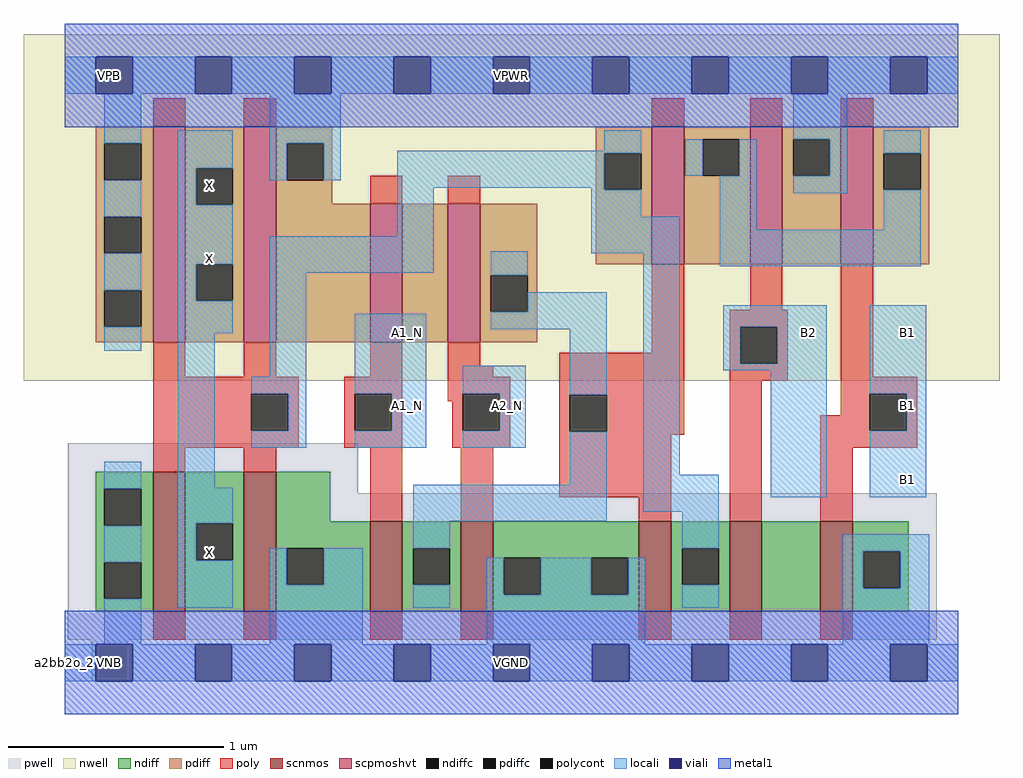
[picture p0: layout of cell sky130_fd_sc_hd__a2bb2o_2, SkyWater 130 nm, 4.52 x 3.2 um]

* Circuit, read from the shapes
.subckt sky130_fd_sc_hd__a2bb2o_2 A1_N A2_N B1 B2 VGND VNB VPB VPWR X
XM1 X n1 VGND VNB sky130_fd_pr__nfet_01v8 w=0.65 l=0.15 m=2
XM2 n2 A1_N VGND VNB sky130_fd_pr__nfet_01v8 w=0.42 l=0.15
XM3 VGND A2_N n2 VNB sky130_fd_pr__nfet_01v8 w=0.42 l=0.15
XM4 n1 n2 VGND VNB sky130_fd_pr__nfet_01v8 w=0.42 l=0.15
XM5 n3 B2 n1 VNB sky130_fd_pr__nfet_01v8 w=0.42 l=0.15
XM6 VGND B1 n3 VNB sky130_fd_pr__nfet_01v8 w=0.42 l=0.15
XM7 X n1 VPWR VPB sky130_fd_pr__pfet_01v8_hvt w=1 l=0.15 m=2
XM8 n4 A1_N VPWR VPB sky130_fd_pr__pfet_01v8_hvt w=0.64 l=0.15
XM9 n2 A2_N n4 VPB sky130_fd_pr__pfet_01v8_hvt w=0.64 l=0.15
XM10 n5 n2 n1 VPB sky130_fd_pr__pfet_01v8_hvt w=0.64 l=0.15
XM11 VPWR B2 n5 VPB sky130_fd_pr__pfet_01v8_hvt w=0.64 l=0.15
XM12 n5 B1 VPWR VPB sky130_fd_pr__pfet_01v8_hvt w=0.64 l=0.15
.ends

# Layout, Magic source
magic
tech sky130A
magscale 1 2
<< nwell >>
rect -38 261 866 582
<< pwell >>
rect 3 157 272 203
rect 3 21 808 157
rect 25 -17 59 21
<< scnmos >>
rect 82 47 112 177
rect 166 47 196 177
rect 283 47 313 131
rect 367 47 397 131
rect 532 47 562 131
rect 616 47 646 131
rect 700 47 730 131
<< scpmoshvt >>
rect 82 297 112 497
rect 166 297 196 497
rect 283 297 313 425
rect 355 297 385 425
rect 544 369 574 497
rect 635 369 665 497
rect 719 369 749 497
<< ndiff >>
rect 29 161 82 177
rect 29 127 37 161
rect 71 127 82 161
rect 29 93 82 127
rect 29 59 37 93
rect 71 59 82 93
rect 29 47 82 59
rect 112 129 166 177
rect 112 95 122 129
rect 156 95 166 129
rect 112 47 166 95
rect 196 131 246 177
rect 196 106 283 131
rect 196 72 206 106
rect 240 72 283 106
rect 196 47 283 72
rect 313 106 367 131
rect 313 72 323 106
rect 357 72 367 106
rect 313 47 367 72
rect 397 97 532 131
rect 397 63 407 97
rect 441 63 488 97
rect 522 63 532 97
rect 397 47 532 63
rect 562 106 616 131
rect 562 72 572 106
rect 606 72 616 106
rect 562 47 616 72
rect 646 47 700 131
rect 730 103 782 131
rect 730 69 740 103
rect 774 69 782 103
rect 730 47 782 69
<< pdiff >>
rect 29 481 82 497
rect 29 447 37 481
rect 71 447 82 481
rect 29 413 82 447
rect 29 379 37 413
rect 71 379 82 413
rect 29 345 82 379
rect 29 311 37 345
rect 71 311 82 345
rect 29 297 82 311
rect 112 458 166 497
rect 112 424 122 458
rect 156 424 166 458
rect 112 369 166 424
rect 112 335 122 369
rect 156 335 166 369
rect 112 297 166 335
rect 196 481 248 497
rect 196 447 206 481
rect 240 447 248 481
rect 492 472 544 497
rect 196 425 248 447
rect 492 438 500 472
rect 534 438 544 472
rect 196 297 283 425
rect 313 297 355 425
rect 385 359 438 425
rect 492 369 544 438
rect 574 485 635 497
rect 574 451 591 485
rect 625 451 635 485
rect 574 369 635 451
rect 665 485 719 497
rect 665 451 675 485
rect 709 451 719 485
rect 665 369 719 451
rect 749 472 801 497
rect 749 438 759 472
rect 793 438 801 472
rect 749 369 801 438
rect 385 325 395 359
rect 429 325 438 359
rect 385 297 438 325
<< ndiffc >>
rect 37 127 71 161
rect 37 59 71 93
rect 122 95 156 129
rect 206 72 240 106
rect 323 72 357 106
rect 407 63 441 97
rect 488 63 522 97
rect 572 72 606 106
rect 740 69 774 103
<< pdiffc >>
rect 37 447 71 481
rect 37 379 71 413
rect 37 311 71 345
rect 122 424 156 458
rect 122 335 156 369
rect 206 447 240 481
rect 500 438 534 472
rect 591 451 625 485
rect 675 451 709 485
rect 759 438 793 472
rect 395 325 429 359
<< poly >>
rect 82 497 112 523
rect 166 497 196 523
rect 544 497 574 523
rect 635 497 665 523
rect 719 497 749 523
rect 283 425 313 451
rect 355 425 385 451
rect 82 265 112 297
rect 166 265 196 297
rect 283 265 313 297
rect 82 249 217 265
rect 82 215 173 249
rect 207 215 217 249
rect 82 199 217 215
rect 259 249 313 265
rect 259 215 269 249
rect 303 215 313 249
rect 355 275 385 297
rect 544 287 574 369
rect 635 327 665 369
rect 355 265 397 275
rect 355 249 413 265
rect 355 242 369 249
rect 259 199 313 215
rect 359 215 369 242
rect 403 215 413 249
rect 359 199 413 215
rect 458 248 574 287
rect 458 214 468 248
rect 502 214 574 248
rect 458 211 574 214
rect 616 311 670 327
rect 616 277 626 311
rect 660 277 670 311
rect 616 261 670 277
rect 719 265 749 369
rect 82 177 112 199
rect 166 177 196 199
rect 283 131 313 199
rect 367 131 397 199
rect 458 153 562 211
rect 532 131 562 153
rect 616 131 646 261
rect 719 249 790 265
rect 719 229 746 249
rect 700 215 746 229
rect 780 215 790 249
rect 700 199 790 215
rect 700 131 730 199
rect 82 21 112 47
rect 166 21 196 47
rect 283 21 313 47
rect 367 21 397 47
rect 532 21 562 47
rect 616 21 646 47
rect 700 21 730 47
<< polycont >>
rect 173 215 207 249
rect 269 215 303 249
rect 369 215 403 249
rect 468 214 502 248
rect 626 277 660 311
rect 746 215 780 249
<< locali >>
rect 0 527 29 561
rect 63 527 121 561
rect 155 527 213 561
rect 247 527 305 561
rect 339 527 397 561
rect 431 527 489 561
rect 523 527 581 561
rect 615 527 673 561
rect 707 527 765 561
rect 799 527 828 561
rect 37 481 71 527
rect 37 413 71 447
rect 37 345 71 379
rect 37 289 71 311
rect 105 458 156 493
rect 105 424 122 458
rect 190 481 256 527
rect 190 447 206 481
rect 240 447 256 481
rect 500 474 534 493
rect 675 485 725 527
rect 308 472 534 474
rect 105 369 156 424
rect 308 440 500 472
rect 308 395 342 440
rect 105 335 122 369
rect 105 305 156 335
rect 190 361 342 395
rect 488 438 500 440
rect 575 451 591 485
rect 625 451 641 485
rect 488 413 534 438
rect 37 161 71 186
rect 37 93 71 127
rect 37 17 71 59
rect 105 162 139 305
rect 190 265 224 361
rect 395 359 429 381
rect 488 379 570 413
rect 429 325 502 343
rect 173 249 224 265
rect 207 215 224 249
rect 173 199 224 215
rect 269 249 335 323
rect 395 309 502 325
rect 303 215 335 249
rect 269 199 335 215
rect 369 249 427 275
rect 403 215 427 249
rect 369 199 427 215
rect 468 248 502 309
rect 468 165 502 214
rect 105 129 156 162
rect 105 95 122 129
rect 323 131 502 165
rect 536 174 570 379
rect 607 401 641 451
rect 709 451 725 485
rect 675 435 725 451
rect 759 472 793 493
rect 759 401 793 438
rect 607 367 793 401
rect 610 311 706 331
rect 610 277 626 311
rect 660 277 706 311
rect 610 271 706 277
rect 536 140 606 174
rect 654 153 706 271
rect 746 249 798 331
rect 780 215 798 249
rect 746 153 798 215
rect 323 106 357 131
rect 105 51 156 95
rect 190 72 206 106
rect 240 72 276 106
rect 190 17 276 72
rect 572 106 606 140
rect 323 51 357 72
rect 391 63 407 97
rect 441 63 488 97
rect 522 63 538 97
rect 391 17 538 63
rect 572 51 606 72
rect 721 103 801 119
rect 721 69 740 103
rect 774 69 801 103
rect 721 17 801 69
rect 0 -17 29 17
rect 63 -17 121 17
rect 155 -17 213 17
rect 247 -17 305 17
rect 339 -17 397 17
rect 431 -17 489 17
rect 523 -17 581 17
rect 615 -17 673 17
rect 707 -17 765 17
rect 799 -17 828 17
<< viali >>
rect 29 527 63 561
rect 121 527 155 561
rect 213 527 247 561
rect 305 527 339 561
rect 397 527 431 561
rect 489 527 523 561
rect 581 527 615 561
rect 673 527 707 561
rect 765 527 799 561
rect 29 -17 63 17
rect 121 -17 155 17
rect 213 -17 247 17
rect 305 -17 339 17
rect 397 -17 431 17
rect 489 -17 523 17
rect 581 -17 615 17
rect 673 -17 707 17
rect 765 -17 799 17
<< metal1 >>
rect 0 561 828 592
rect 0 527 29 561
rect 63 527 121 561
rect 155 527 213 561
rect 247 527 305 561
rect 339 527 397 561
rect 431 527 489 561
rect 523 527 581 561
rect 615 527 673 561
rect 707 527 765 561
rect 799 527 828 561
rect 0 496 828 527
rect 0 17 828 48
rect 0 -17 29 17
rect 63 -17 121 17
rect 155 -17 213 17
rect 247 -17 305 17
rect 339 -17 397 17
rect 431 -17 489 17
rect 523 -17 581 17
rect 615 -17 673 17
rect 707 -17 765 17
rect 799 -17 828 17
rect 0 -48 828 -17
<< labels >>
flabel pwell s 25 -17 59 17 0 FreeSans 200 0 0 0 VNB
port 6 nsew ground bidirectional
flabel nwell s 25 527 59 561 0 FreeSans 200 0 0 0 VPB
port 7 nsew power bidirectional
flabel metal1 s 25 -17 59 17 0 FreeSans 200 0 0 0 VGND
port 5 nsew ground bidirectional abutment
flabel metal1 s 25 527 59 561 0 FreeSans 200 0 0 0 VPWR
port 8 nsew power bidirectional abutment
flabel locali s 25 527 59 561 0 FreeSans 200 0 0 0 VPWR
port 8 nsew power bidirectional abutment
flabel locali s 25 -17 59 17 0 FreeSans 200 0 0 0 VGND
port 5 nsew ground bidirectional abutment
flabel locali s 764 221 798 255 0 FreeSans 200 0 0 0 B1
port 3 nsew signal input
flabel locali s 764 289 798 323 0 FreeSans 200 0 0 0 B1
port 3 nsew signal input
flabel locali s 764 153 798 187 0 FreeSans 200 0 0 0 B1
port 3 nsew signal input
flabel locali s 301 221 335 255 0 FreeSans 200 0 0 0 A1_N
port 1 nsew signal input
flabel locali s 393 221 427 255 0 FreeSans 200 0 0 0 A2_N
port 2 nsew signal input
flabel locali s 117 85 151 119 0 FreeSans 200 0 0 0 X
port 9 nsew signal output
flabel locali s 672 289 706 323 0 FreeSans 200 0 0 0 B2
port 4 nsew signal input
flabel locali s 301 289 335 323 0 FreeSans 200 0 0 0 A1_N
port 1 nsew signal input
flabel locali s 117 425 151 459 0 FreeSans 200 0 0 0 X
port 9 nsew signal output
flabel locali s 117 357 151 391 0 FreeSans 200 0 0 0 X
port 9 nsew signal output
rlabel comment s 0 0 0 0 4 a2bb2o_2
rlabel metal1 s 0 -48 828 48 1 VGND
port 5 nsew ground bidirectional abutment
rlabel metal1 s 0 496 828 592 1 VPWR
port 8 nsew power bidirectional abutment
<< properties >>
string FIXED_BBOX 0 0 828 544
string GDS_END 3919020
string GDS_FILE $PDKPATH/libs.ref/sky130_fd_sc_hd/gds/sky130_fd_sc_hd.gds
string GDS_START 3911292
string LEFclass CORE
string LEFsite unithd
string LEFsymmetry X Y R90
string path 0.000 0.000 20.700 0.000 
<< end >>
